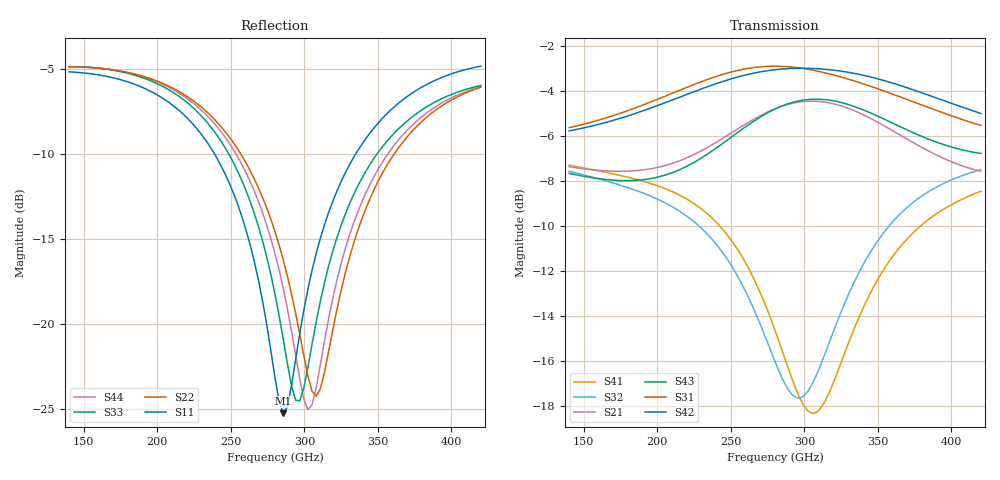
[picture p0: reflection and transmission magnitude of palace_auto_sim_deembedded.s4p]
! Created with skrf 2.0.1 (http://scikit-rf.org).
# GHz S DB R 50.0
!freq dBS11 angS11 dBS12 angS12 dBS13 angS13
! dBS14 angS14
! dBS21 angS21 dBS22 angS22 dBS23 angS23
! dBS24 angS24
! dBS31 angS31 dBS32 angS32 dBS33 angS33
! dBS34 angS34
! dBS41 angS41 dBS42 angS42 dBS43 angS43
! dBS44 angS44
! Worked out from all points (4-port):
!   101 points, 140 GHz to 420 GHz, reference 50 ohm
!   strongest paths, dB at 140 GHz, 210 GHz, 280 GHz, 350 GHz, 420 GHz:
!     S42: -5.8, -4.4, -3.1, -3.5, -5.0
!     S31: -5.6, -4.1, -2.9, -3.9, -5.5
!     S43: -7.7, -7.6, -4.8, -5.1, -6.8
!     S21: -7.4, -7.2, -4.8, -5.4, -7.6
!     S32: -7.6, -9.1, -16.0, -10.6, -7.5
!     S41: -7.3, -8.5, -14.6, -12.4, -8.5
!   lowest |S11| = -25.3 dB at 285.6 GHz (marker M1), VSWR 1.12, Z = 55.4 + j2 ohm
!   |S11| at or under -10 dB: 238.7 GHz to 335.1 GHz (96.33 GHz wide, 33.6 % of centre)
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140  -5.19 168.7  -7.37 -46.6  -5.63 -74.5  -7.30 -57.1
     -7.37 -46.6  -4.90 157.1  -7.57 -62.0  -5.78 -79.7
     -5.63 -74.5  -7.57 -62.0  -4.88 156.0  -7.66 -51.1
     -7.30 -57.1  -5.78 -79.7  -7.66 -51.1  -4.90 156.7
238  -9.89 125.6  -6.36 -65.5  -3.40 -134.6  -9.70 -102.2
     -6.36 -65.5  -7.91 110.4  -10.65 -106.9  -3.72 -141.1
     -3.40 -134.6  -10.65 -106.9  -8.62 104.0  -6.63 -68.8
     -9.70 -102.2  -3.72 -141.1  -6.63 -68.8  -8.16 108.2
285.6  -25.28 19.3  -4.66 -86.8  -2.91 -172.7  -15.67 -115.8
       -4.66 -86.8  -16.25 66.3  -16.86 -107.8  -3.03 -178.8
       -2.91 -172.7  -16.86 -107.8  -20.92 38.5  -4.65 -91.2
       -15.67 -115.8  -3.03 -178.8  -4.65 -91.2  -17.93 59.0
296.8  -20.61 -45.0  -4.49 -93.6  -2.98 178.2  -17.64 -106.1
       -4.49 -93.6  -20.62 41.6  -17.64 -92.6  -3.00 172.0
       -2.98 178.2  -17.64 -92.6  -24.55 -27.0  -4.44 -98.4
       -17.64 -106.1  -3.00 172.0  -4.44 -98.4  -23.25 23.6
308  -15.88 -67.3  -4.46 -100.6  -3.11 169.3  -18.29 -88.3
     -4.46 -100.6  -24.27 -16.1  -16.65 -77.8  -3.01 162.8
     -3.11 169.3  -16.65 -77.8  -19.90 -80.8  -4.37 -105.6
     -18.29 -88.3  -3.01 162.8  -4.37 -105.6  -23.77 -50.1
347.2  -8.50 -98.7  -5.30 -122.6  -3.85 140.3  -12.69 -68.4
       -5.30 -122.6  -12.15 -114.7  -10.92 -76.7  -3.42 131.4
       -3.85 140.3  -10.92 -76.7  -10.30 -128.8  -5.04 -128.5
       -12.69 -68.4  -3.42 131.4  -5.04 -128.5  -11.37 -121.8
420  -4.86 -129.6  -7.57 -143.7  -5.54 94.8  -8.46 -100.5
     -7.57 -143.7  -6.09 -160.6  -7.50 -115.5  -5.00 80.4
     -5.54 94.8  -7.50 -115.5  -5.99 -167.5  -6.78 -153.0
     -8.46 -100.5  -5.00 80.4  -6.78 -153.0  -6.07 -164.5
